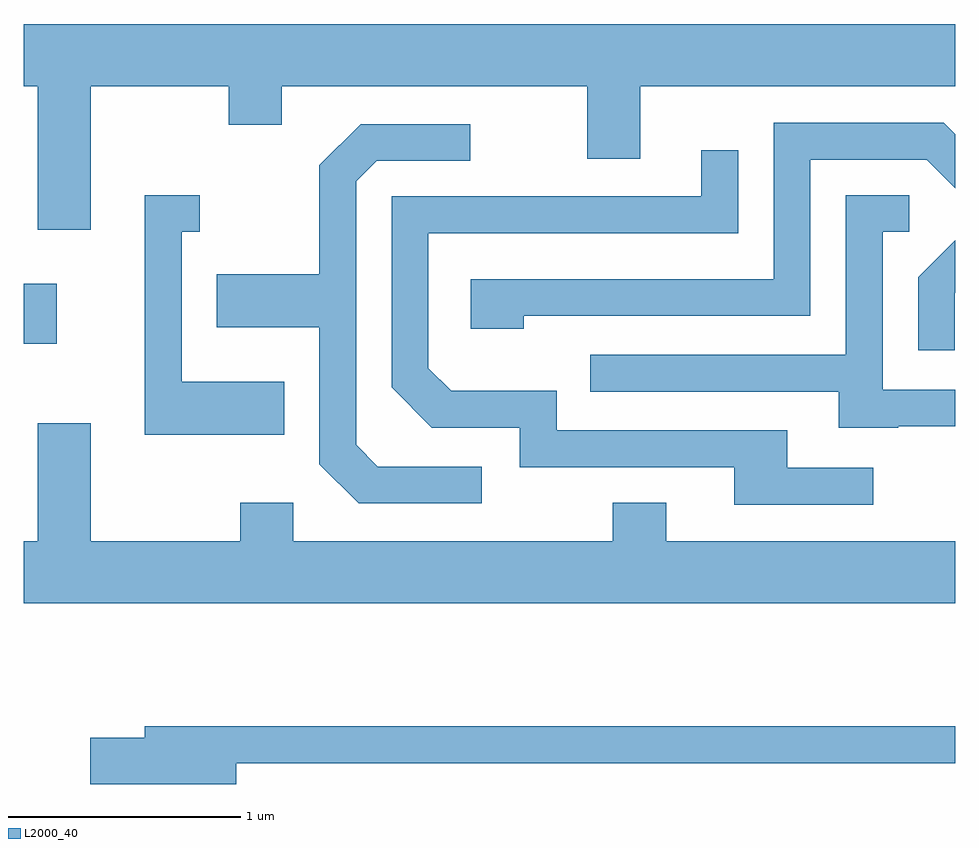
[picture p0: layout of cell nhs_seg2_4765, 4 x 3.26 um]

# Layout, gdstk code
import gdstk
lib = gdstk.Library(unit=1e-6, precision=1e-09)
def R(c, l, rs):  # rectangles x0, y0, x1, y1
    for r in rs: c.add(gdstk.rectangle(r[:2], r[2:], *l))
def P(c, l, *ps):  # polygons
    for p in ps: c.add(gdstk.Polygon(p, *l))
L2000_40 = (2000, 40)

nhs_seg2_4765 = lib.new_cell('nhs_seg2_4765')
R(nhs_seg2_4765, L2000_40, [(325.611,1033.891,325.754,1034.149)])
P(nhs_seg2_4765, L2000_40, [(325.899,1034.996),(326.491,1034.996),(326.491,1034.831),(326.719,1034.831),(326.719,1034.996),(328.031,1034.996),(328.031,1034.686),(328.259,1034.686),(328.259,1034.996),(329.611,1034.996),(329.611,1035.264),(325.611,1035.264),(325.611,1034.996),(325.671,1034.996),(325.671,1034.381),(325.899,1034.381)],
  [(327.759,1034.011),(328.989,1034.011),(328.989,1034.681),(329.489,1034.681),(329.611,1034.559),(329.611,1034.79),(329.562,1034.839),(328.831,1034.839),(328.831,1034.169),(327.531,1034.169),(327.531,1033.956),(327.759,1033.956)],
  [(327.578,1033.364),(327.132,1033.364),(327.039,1033.457),(327.039,1034.589),(327.127,1034.676),(327.528,1034.676),(327.528,1034.834),(327.059,1034.834),(326.881,1034.657),(326.881,1034.189),(326.441,1034.189),(326.441,1033.961),(326.881,1033.961),(326.881,1033.373),(327.049,1033.206),(327.578,1033.206)],
  [(329.258,1033.359),(328.889,1033.359),(328.889,1033.519),(327.899,1033.519),(327.899,1033.689),(327.447,1033.689),(327.349,1033.786),(327.349,1034.366),(328.679,1034.366),(328.679,1034.723),(328.521,1034.723),(328.521,1034.524),(327.191,1034.524),(327.191,1033.704),(327.364,1033.531),(327.741,1033.531),(327.741,1033.361),(328.661,1033.361),(328.661,1033.201),(329.258,1033.201)],
  [(329.365,1033.536),(329.611,1033.536),(329.611,1033.694),(329.299,1033.694),(329.299,1034.371),(329.413,1034.371),(329.413,1034.529),(329.141,1034.529),(329.141,1033.844),(328.043,1033.844),(328.043,1033.686),(329.111,1033.686),(329.111,1033.531),(329.365,1033.531)],
  [(326.729,1033.729),(326.289,1033.729),(326.289,1034.371),(326.368,1034.371),(326.368,1034.529),(326.131,1034.529),(326.131,1033.501),(326.729,1033.501)],
  [(329.609,1034.109),(329.611,1034.111),(329.611,1034.336),(329.451,1034.177),(329.451,1033.863),(329.609,1033.863)],
  [(329.611,1033.044),(328.369,1033.044),(328.369,1033.209),(328.141,1033.209),(328.141,1033.044),(326.769,1033.044),(326.769,1033.209),(326.541,1033.209),(326.541,1033.044),(325.899,1033.044),(325.899,1033.549),(325.671,1033.549),(325.671,1033.044),(325.611,1033.044),(325.611,1032.776),(329.611,1032.776)],
  [(326.524,1032.091),(329.611,1032.091),(329.611,1032.249),(326.131,1032.249),(326.131,1032.199),(325.896,1032.199),(325.896,1032.001),(326.524,1032.001)])

lib.write_gds('nhs_seg2_4765.gds')
